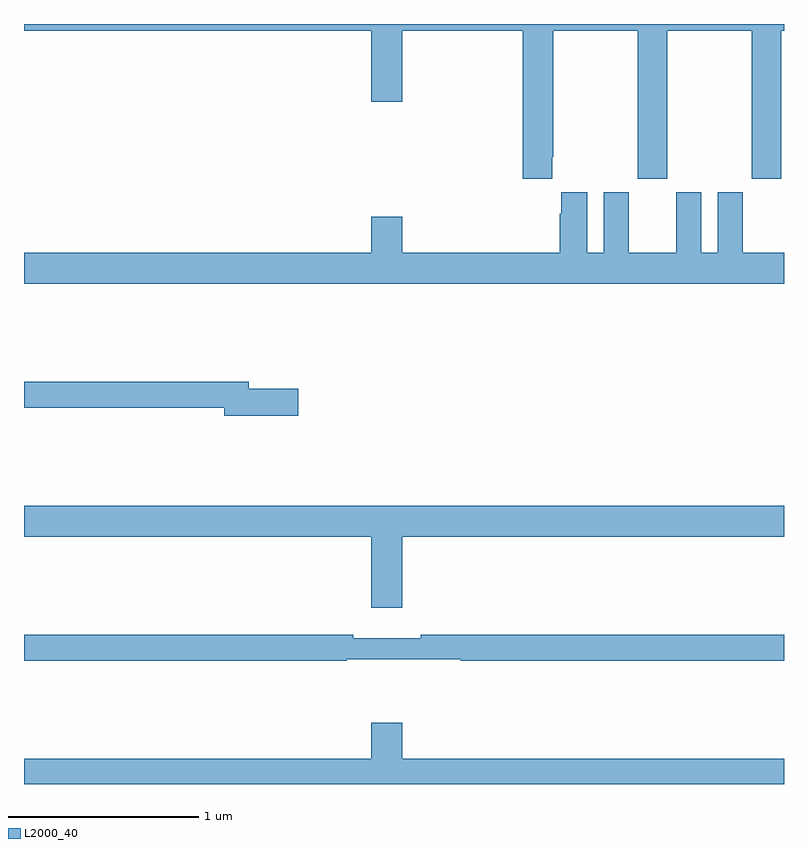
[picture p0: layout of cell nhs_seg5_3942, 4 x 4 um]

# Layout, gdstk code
import gdstk
lib = gdstk.Library(unit=1e-6, precision=1e-09)
def P(c, l, *ps):  # polygons
    for p in ps: c.add(gdstk.Polygon(p, *l))
L2000_40 = (2000, 40)

nhs_seg5_3942 = lib.new_cell('nhs_seg5_3942')
P(nhs_seg5_3942, L2000_40, [(345.781,852.097),(345.786,852.097),(345.786,852.764),(346.231,852.764),(346.231,851.985),(346.386,851.985),(346.386,852.764),(346.831,852.764),(346.831,851.985),(346.986,851.985),(346.986,852.764),(347,852.764),(347,852.799),(343,852.799),(343,852.764),(344.828,852.764),(344.828,852.39),(344.992,852.39),(344.992,852.764),(345.626,852.764),(345.626,851.985),(345.781,851.985)],
  [(347,851.596),(346.783,851.596),(346.783,851.914),(346.652,851.914),(346.652,851.596),(346.564,851.596),(346.564,851.914),(346.433,851.914),(346.433,851.596),(346.183,851.596),(346.183,851.914),(346.052,851.914),(346.052,851.596),(345.964,851.596),(345.964,851.914),(345.827,851.914),(345.827,851.801),(345.821,851.801),(345.821,851.596),(344.992,851.596),(344.992,851.785),(344.828,851.785),(344.828,851.596),(343,851.596),(343,851.432),(347,851.432)],
  [(344.443,850.88),(344.182,850.88),(344.182,850.916),(343,850.916),(343,850.78),(344.054,850.78),(344.054,850.738),(344.443,850.738)],
  [(344.992,850.1),(347,850.1),(347,850.264),(343,850.264),(343,850.1),(344.828,850.1),(344.828,849.726),(344.992,849.726)],
  [(344.698,849.456),(345.298,849.456),(345.298,849.448),(347,849.448),(347,849.584),(345.088,849.584),(345.088,849.565),(344.732,849.565),(344.732,849.584),(343,849.584),(343,849.448),(344.698,849.448)],
  [(347,848.932),(344.992,848.932),(344.992,849.121),(344.828,849.121),(344.828,848.932),(343,848.932),(343,848.799),(347,848.799)])

lib.write_gds('nhs_seg5_3942.gds')
